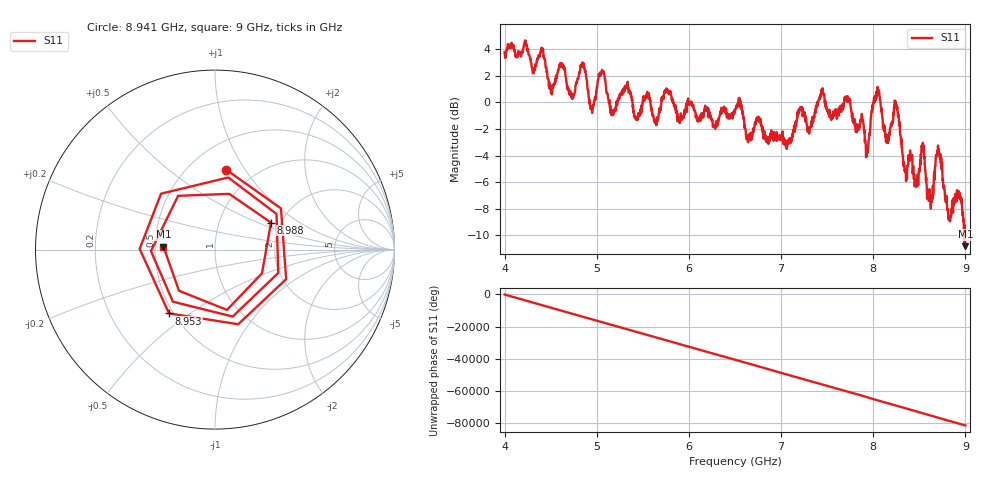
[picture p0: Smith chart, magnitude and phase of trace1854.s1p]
! Created with skrf 1.8.0 (http://scikit-rf.org).
# Hz S RI R 50.0
!freq ReS11 ImS11
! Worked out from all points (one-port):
!   1601 points, 4 GHz to 9 GHz, reference 50 ohm
!   lowest |S11| = -10.8 dB at 9 GHz (marker M1), VSWR 1.81, Z = 27.7 + j0.971 ohm
!   |S11| at or under -10 dB: 8.989639 GHz to 8.992455 GHz (2.816 MHz wide, 0.0313 % of centre); 8.996051 GHz to end of sweep
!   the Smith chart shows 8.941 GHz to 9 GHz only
!   S11 on the Smith chart (normalised r, x): 8.941 GHz: 0.74, +0.83; 8.953 GHz: 0.47, -0.42; 8.988 GHz: 1.77, +0.61; 9 GHz: 0.55, +0.02
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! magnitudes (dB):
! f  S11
! 4 GHz  3.8
! 4.406 GHz  4.1
! 4.506 GHz  0.9
! 4.625 GHz  2.9
! 4.734 GHz  0.3
! 4.85 GHz  2.8
! 4.944 GHz  -0.3
! 5.053 GHz  2.3
! 5.166 GHz  -0.7
! 5.25 GHz  0.6
! 5.875 GHz  -1.4
! 6.5 GHz  -0.6
! 7.125 GHz  -2.4
! 7.444 GHz  0.8
! 7.75 GHz  0.2
! 7.934 GHz  -3.5
! 8.041 GHz  0.5
! 8.153 GHz  -3.0
! 8.25 GHz  -0.1
! 8.375 GHz  -4.8
! 8.541 GHz  -3.2
! 8.619 GHz  -7.2
! 8.703 GHz  -3.2
! 8.825 GHz  -8.6
! 8.941 GHz  -6.9
! 8.953 GHz  -7.2
! 8.988 GHz  -9.2
! 9 GHz  -10.8
